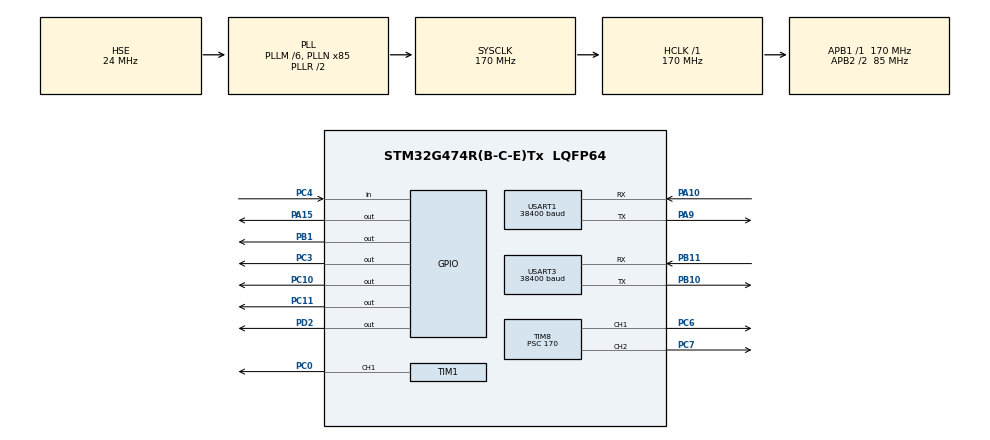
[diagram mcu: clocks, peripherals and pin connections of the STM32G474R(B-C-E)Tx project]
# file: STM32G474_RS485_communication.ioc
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Mcu.Family=STM32G4
Mcu.Name=STM32G474R(B-C-E)Tx
Mcu.Package=LQFP64
NVIC.PriorityGroup=NVIC_PRIORITYGROUP_4
NVIC.USART1_IRQn=true\:0\:0\:true\:false\:true\:true\:true\:true
NVIC.USART3_IRQn=true\:0\:0\:true\:false\:true\:true\:true\:true
PA10.Mode=Asynchronous
PA10.Signal=USART1_RX
PA13.Mode=Serial_Wire
PA13.Signal=SYS_JTMS-SWDIO
PA14.Mode=Serial_Wire
PA14.Signal=SYS_JTCK-SWCLK
PA15.Signal=GPIO_Output
PA9.Mode=Asynchronous
PA9.Signal=USART1_TX
PB1.Signal=GPIO_Output
PB10.Mode=Asynchronous
PB10.Signal=USART3_TX
PB11.Mode=Asynchronous
PB11.Signal=USART3_RX
PC0.Signal=S_TIM1_CH1
PC10.Signal=GPIO_Output
PC11.Signal=GPIO_Output
PC14-OSC32_IN.Mode=LSE-External-Oscillator
PC14-OSC32_IN.Signal=RCC_OSC32_IN
PC15-OSC32_OUT.Mode=LSE-External-Oscillator
PC15-OSC32_OUT.Signal=RCC_OSC32_OUT
PC3.Signal=GPIO_Output
PC4.GPIO_PuPd=GPIO_PULLUP
PC4.Signal=GPIO_Input
PC6.Signal=S_TIM8_CH1
PC7.Signal=S_TIM8_CH2
PD2.Signal=GPIO_Output
PF0-OSC_IN.Mode=HSE-External-Oscillator
PF0-OSC_IN.Signal=RCC_OSC_IN
PF1-OSC_OUT.Mode=HSE-External-Oscillator
PF1-OSC_OUT.Signal=RCC_OSC_OUT
ProjectManager.HeapSize=0x200
ProjectManager.StackSize=0x400
ProjectManager.TargetToolchain=MDK-ARM V5
RCC.ADC12Freq_Value=170000000
RCC.ADC345Freq_Value=170000000
RCC.AHBFreq_Value=170000000
RCC.APB1Freq_Value=170000000
RCC.APB1TimFreq_Value=170000000
RCC.APB2CLKDivider=RCC_HCLK_DIV2
RCC.APB2Freq_Value=85000000
RCC.APB2TimFreq_Value=170000000
RCC.CortexFreq_Value=170000000
RCC.EXTERNAL_CLOCK_VALUE=12288000
RCC.HCLKFreq_Value=170000000
RCC.HSE_VALUE=24000000
RCC.HSI48_VALUE=48000000
RCC.HSI_VALUE=16000000
RCC.PLLM=RCC_PLLM_DIV6
RCC.PLLN=85
RCC.PLLSourceVirtual=RCC_PLLSOURCE_HSE
RCC.SYSCLKFreq_VALUE=170000000
RCC.SYSCLKSource=RCC_SYSCLKSOURCE_PLLCLK
RCC.USBFreq_Value=170000000
RCC.VCOOutputFreq_Value=340000000
SH.S_TIM1_CH1.0=TIM1_CH1,PWM Generation1 CH1
SH.S_TIM8_CH1.0=TIM8_CH1,PWM Generation1 CH1
SH.S_TIM8_CH2.0=TIM8_CH2,PWM Generation2 CH2
TIM1.Channel-PWM\ Generation1\ CH1=TIM_CHANNEL_1
TIM1.PeriodNoDither=999
TIM1.Prescaler=34
TIM1.PulseNoDither_1=500
TIM8.Channel-PWM\ Generation1\ CH1=TIM_CHANNEL_1
TIM8.Channel-PWM\ Generation2\ CH2=TIM_CHANNEL_2
TIM8.PeriodNoDither=999
TIM8.Prescaler=170
TIM8.PulseNoDither_1=500
TIM8.PulseNoDither_2=500
USART1.BaudRate=38400
USART1.VirtualMode-Asynchronous=VM_ASYNC
USART3.BaudRate=38400
USART3.VirtualMode-Asynchronous=VM_ASYNC
VP_SYS_VS_DBSignals.Mode=DisableDeadBatterySignals
VP_TIM1_VS_ClockSourceINT.Mode=Internal
VP_TIM8_VS_ClockSourceINT.Mode=Internal
board=custom

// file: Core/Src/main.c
/* USER CODE BEGIN Header */
/**
  ******************************************************************************
  * @file           : main.c
  * @brief          : Main program body
  ******************************************************************************
  * @attention
  * Author					: PENGPENG 2024.6.26
  * Copyright (c) 2024 STMicroelectronics.
  * All rights reserved.
  *
  * This software is licensed under terms that can be found in the LICENSE file
  * in the root directory of this software component.
  * If no LICENSE file comes with this software, it is provided AS-IS.
  *
  ******************************************************************************
  */
/* USER CODE END Header */
#include "main.h"
#include "tim.h"
#include "usart.h"
#include "gpio.h"

/* USER CODE BEGIN Includes */
#include <stdio.h>//自行包含头文件，为了使用prinrf()函数
#include <string.h>
/* USER CODE END Includes */

/* USER CODE BEGIN PTD */
uint8_t USART3_buff[17]={0};//定义一个接收缓存区
uint8_t USART3_RXbuff[17]={0};//定义一个正真的接收数组
uint8_t rx3_flag = 0;
uint8_t Y_flag = 0;//Y轴运动标志位
uint8_t Z_flag = 0;//Z轴运动标志位
uint8_t motor_flag = 0;

uint16_t AIM_AXIS_X = 0x0160;//X轴的目标坐标
uint16_t AIM_AXIS_Y = 0x0160;//Y轴的目标坐标
uint16_t AIM_AXIS_Z = 0x1800;//Z轴的目标坐标

uint16_t AXIS_X =0;//X轴的实时坐标
uint16_t AXIS_Y =0;//Y轴的实时坐标
uint16_t AXIS_Z =0;//Z轴的实时坐标

int16_t ERROR_X = 0;//X轴的误差
int16_t ERROR_Y = 0;//Y轴的误差
int16_t ERROR_Z = 0;//Z轴的误差

uint8_t z_flag = 0;
/* USER CODE END PTD */

void SystemClock_Config(void);

/* USER CODE BEGIN 0 */

//回调函数接收相机发送的数据
void HAL_UARTEx_RxEventCallback(UART_HandleTypeDef *huart, uint16_t Size)
{
	if(huart->Instance == USART3)
	{

    // 再次开启，否则只会接收一次
		HAL_UARTEx_ReceiveToIdle_IT(huart, USART3_buff, sizeof(USART3_buff));

		rx3_flag = 1;
	}
}

//限位开关触发
void HAL_GPIO_EXTI_Callback(uint16_t GPIO_Pin)
{
	if(GPIO_Pin == GPIO_PIN_4)
	{
		z_flag = 1;
	}
}

/* USER CODE END 0 */

int main(void)
{

  /* MCU Configuration--------------------------------------------------------*/

  /* Reset of all peripherals, Initializes the Flash interface and the Systick. */
  HAL_Init();

  /* Configure the system clock */
  SystemClock_Config();

  /* Initialize all configured peripherals */
  MX_GPIO_Init();
  MX_USART1_UART_Init();
  MX_USART3_UART_Init();
  MX_TIM1_Init();
  MX_TIM8_Init();
  /* USER CODE BEGIN 2 */
  HAL_UARTEx_ReceiveToIdle_IT(&huart3, USART3_buff, sizeof(USART3_buff));//接收数据
  /* USER CODE END 2 */

  /* Infinite loop */
  /* USER CODE BEGIN WHILE */
  while (1)
  {

		if(rx3_flag == 1)
		{
			//获取X、Y、Z轴的实时坐标
			AXIS_X = (uint16_t)(USART3_buff[3] << 8) | USART3_buff[4];
			AXIS_Y = (uint16_t)(USART3_buff[5] << 8) | USART3_buff[6];
			AXIS_Z = (uint16_t)(USART3_buff[9] << 8) | USART3_buff[10];

			//计算误差坐标
			ERROR_X = AIM_AXIS_X - AXIS_X;
			ERROR_Y = AIM_AXIS_Y - AXIS_Y;
			ERROR_Z = AIM_AXIS_Z - AXIS_Z;

			//输出给原边主控信号
			if((AXIS_X == 252) &&(AXIS_Y == 5144) && (AXIS_Z == 0)) HAL_GPIO_WritePin(GPIOC,GPIO_PIN_3,GPIO_PIN_RESET);
			else HAL_GPIO_WritePin(GPIOC,GPIO_PIN_3,GPIO_PIN_SET);

			//X轴控制
			//if(ERROR_X != 0x0000 /*&& AXIS_X != 252*/)
			if(AXIS_X != 252)
			{
				if(ERROR_X < 0x0000 || ERROR_X > 0x0010)
				{
					if(ERROR_X < 0)
					{
						HAL_GPIO_WritePin(GPIOC,GPIO_PIN_10,GPIO_PIN_RESET);//X电机反转
						HAL_GPIO_WritePin(GPIOC,GPIO_PIN_11,GPIO_PIN_RESET);//Y电机反转
						HAL_TIM_PWM_Start_IT(&htim8,TIM_CHANNEL_1);
						HAL_TIM_PWM_Start_IT(&htim8,TIM_CHANNEL_2);
					}
					else if(ERROR_X > 0x0010)
					{
						HAL_GPIO_WritePin(GPIOC,GPIO_PIN_10,GPIO_PIN_SET);//X电机正转
						HAL_GPIO_WritePin(GPIOC,GPIO_PIN_11,GPIO_PIN_SET);//Y电机正转
						HAL_TIM_PWM_Start_IT(&htim8,TIM_CHANNEL_1);
						HAL_TIM_PWM_Start_IT(&htim8,TIM_CHANNEL_2);
					}
				}
				else if(0x0000 < ERROR_X < 0x0010)
				{
					Y_flag = 1;
					HAL_TIM_PWM_Stop_IT(&htim8,TIM_CHANNEL_1);
					HAL_TIM_PWM_Stop_IT(&htim8,TIM_CHANNEL_2);
				}
			}
			else if(AXIS_X == 252)
			{
				HAL_TIM_PWM_Stop_IT(&htim8,TIM_CHANNEL_1);
				HAL_TIM_PWM_Stop_IT(&htim8,TIM_CHANNEL_2);
				Y_flag = 1;
			}

			//Y轴控制
			if(Y_flag == 1)
			{
				if(AXIS_Y != 5144)
				{
					if(ERROR_Y < 0x0000 || ERROR_Y > 0x0010)
					{
						if(ERROR_Y < 0)
						{
							HAL_GPIO_WritePin(GPIOC,GPIO_PIN_10,GPIO_PIN_RESET);//X电机正转
							HAL_GPIO_WritePin(GPIOC,GPIO_PIN_11,GPIO_PIN_SET);  //Y电机反转
							HAL_TIM_PWM_Start_IT(&htim8,TIM_CHANNEL_1);
							HAL_TIM_PWM_Start_IT(&htim8,TIM_CHANNEL_2);
						}
						else if(ERROR_Y > 0x0010)
						{
							HAL_GPIO_WritePin(GPIOC,GPIO_PIN_10,GPIO_PIN_SET);  //X电机反转
							HAL_GPIO_WritePin(GPIOC,GPIO_PIN_11,GPIO_PIN_RESET);//Y电机正转
							HAL_TIM_PWM_Start_IT(&htim8,TIM_CHANNEL_1);
							HAL_TIM_PWM_Start_IT(&htim8,TIM_CHANNEL_2);
						}
					}
					else if(0x0000 < ERROR_Y < 0x0010)
					{
						Y_flag = 0;
						Z_flag = 1;
						HAL_TIM_PWM_Stop_IT(&htim8,TIM_CHANNEL_1);
						HAL_TIM_PWM_Stop_IT(&htim8,TIM_CHANNEL_2);
					}
				}
				else if(AXIS_Y == 5144)
				{
					Y_flag = 0;
					Z_flag = 1;
				}
			}

			//Z轴控制
			if(HAL_GPIO_ReadPin(GPIOC,GPIO_PIN_4) == RESET)
			{
				HAL_Delay(30);
				if(HAL_GPIO_ReadPin(GPIOC,GPIO_PIN_4) == RESET)  z_flag = 1;
			}
			if(Z_flag == 1)
			{
				if(AXIS_Z != 0)
				{
					z_flag = 0;
					if(ERROR_Z < 0x0000 || ERROR_Z > 0x0100)
					{
						if(ERROR_Z < 0)
						{
							HAL_GPIO_WritePin(GPIOA,GPIO_PIN_15,GPIO_PIN_SET);//Z电机反转
							HAL_TIM_PWM_Start_IT(&htim1,TIM_CHANNEL_1);
						}
						else if(ERROR_Z > 0x0100)
						{
							HAL_GPIO_WritePin(GPIOA,GPIO_PIN_15,GPIO_PIN_RESET);//Z电机正转
							HAL_TIM_PWM_Start_IT(&htim1,TIM_CHANNEL_1);
						}
					}
					else if( 0x0000 < ERROR_Z < 0x0100)
					{
						Z_flag = 0;
						HAL_TIM_PWM_Stop_IT(&htim1,TIM_CHANNEL_1);
					}
				}
				else if(AXIS_Z == 0)
				{
					if(z_flag == 1)
					HAL_TIM_PWM_Stop_IT(&htim1,TIM_CHANNEL_1);
					else
					{
						HAL_GPIO_WritePin(GPIOA,GPIO_PIN_15,GPIO_PIN_SET);//Z电机反转
						HAL_TIM_PWM_Start_IT(&htim1,TIM_CHANNEL_1);
					}
				}
			}

			//使用串口1打印出实时接受的数据，波特率38400
		  HAL_UART_Transmit(&huart1, (uint8_t *)USART3_buff, sizeof(USART3_buff), 100);
			HAL_Delay(100);

			rx3_flag = 0;//标志位清零，防止陷入后台
		}

    /* USER CODE END WHILE */

  }
}

void SystemClock_Config(void)
{
  RCC_OscInitTypeDef RCC_OscInitStruct = {0};
  RCC_ClkInitTypeDef RCC_ClkInitStruct = {0};

  /** Configure the main internal regulator output voltage
  */
  HAL_PWREx_ControlVoltageScaling(PWR_REGULATOR_VOLTAGE_SCALE1_BOOST);

  /** Initializes the RCC Oscillators according to the specified parameters
  * in the RCC_OscInitTypeDef structure.
  */
  RCC_OscInitStruct.OscillatorType = RCC_OSCILLATORTYPE_HSE;
  RCC_OscInitStruct.HSEState = RCC_HSE_ON;
  RCC_OscInitStruct.PLL.PLLState = RCC_PLL_ON;
  RCC_OscInitStruct.PLL.PLLSource = RCC_PLLSOURCE_HSE;
  RCC_OscInitStruct.PLL.PLLM = RCC_PLLM_DIV6;
  RCC_OscInitStruct.PLL.PLLN = 85;
  RCC_OscInitStruct.PLL.PLLP = RCC_PLLP_DIV2;
  RCC_OscInitStruct.PLL.PLLQ = RCC_PLLQ_DIV2;
  RCC_OscInitStruct.PLL.PLLR = RCC_PLLR_DIV2;
  if (HAL_RCC_OscConfig(&RCC_OscInitStruct) != HAL_OK)
  {
    Error_Handler();
  }

  /** Initializes the CPU, AHB and APB buses clocks
  */
  RCC_ClkInitStruct.ClockType = RCC_CLOCKTYPE_HCLK|RCC_CLOCKTYPE_SYSCLK
                              |RCC_CLOCKTYPE_PCLK1|RCC_CLOCKTYPE_PCLK2;
  RCC_ClkInitStruct.SYSCLKSource = RCC_SYSCLKSOURCE_PLLCLK;
  RCC_ClkInitStruct.AHBCLKDivider = RCC_SYSCLK_DIV1;
  RCC_ClkInitStruct.APB1CLKDivider = RCC_HCLK_DIV1;
  RCC_ClkInitStruct.APB2CLKDivider = RCC_HCLK_DIV2;

  if (HAL_RCC_ClockConfig(&RCC_ClkInitStruct, FLASH_LATENCY_4) != HAL_OK)
  {
    Error_Handler();
  }
}

void Error_Handler(void)
{
  __disable_irq();
  while (1)
  {
  }
}
